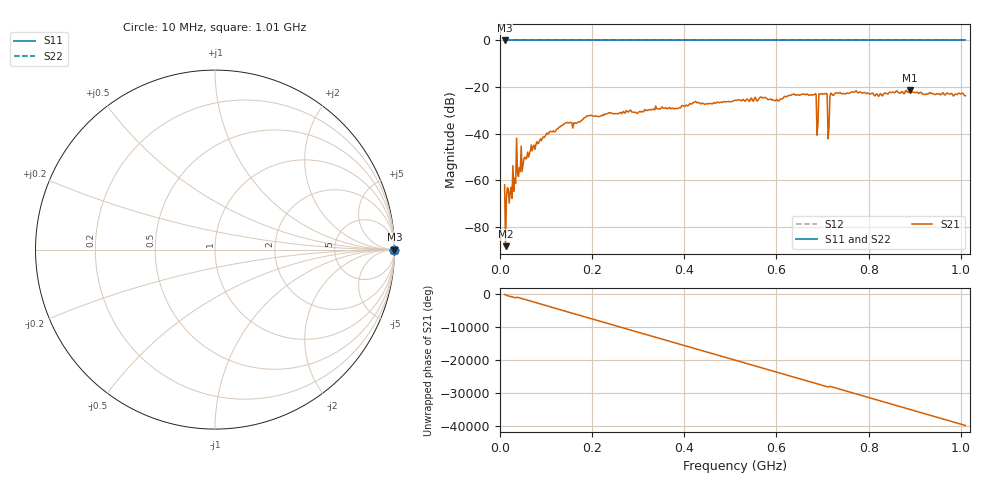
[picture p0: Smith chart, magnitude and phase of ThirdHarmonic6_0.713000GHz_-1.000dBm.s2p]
! 8/15/2025 11:50:37 PM
! C:\ANRITSUVNA\TEMP\TEMP.S2P
! CHANNEL.1
! TR.MEASUREMENT
! RAW.DATA
! RF.CORRECTION.OFF
! AVERAGING.OFF
! IF.BANDWIDTH: 5KHZ
! SWEEPTYPE:  FREQ.SWEEP(Linear)
! Reference Plane Port Info
! PORT:  PORT1  PORT2
! DISTANCE:  0  m  0  m
! TIME:  0  s  0  s
! PHASE.OFFSET:  0  deg.  0  deg.
! LOSS:  0  dB  0  dB
! REF.LOSS:  0  dB  0  dB
! REF.FREQ:  0  Hz  0  Hz
! Power Info
! POWER:  -20  dBm  -20  dBm
! EFF.POWER:  -20  dBm  -20  dBm
! SOURCE.ATTEN:  0  dB  0  dB
! TEST.ATTEN:  0  dB  0  dB
# GHZ S RI R 50.0
! FREQ.GHZ  S11RE  S11IM  S21RE  S21IM  S12RE  S12IM  S22RE  S22IM
!; PortSelection: Port_12
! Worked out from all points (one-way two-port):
!   501 points, 10 MHz to 1.01 GHz, reference 50 ohm
!   highest |S21| = -21.46 dB at 890 MHz (marker M1); lowest = -88.3 dB at 12 MHz (marker M2)
!   lowest |S11| = 0.0 dB at 10 MHz (marker M3)
!   |S11| at or under -10 dB: nowhere
!   |S22| runs from 0.0 to 0.0 dB; largest |S21 - S12| = 1.1
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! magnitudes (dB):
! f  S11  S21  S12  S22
! 10 MHz  0.0  -61.9  0.0  0.0
! 12 MHz  0.0  -88.3  0.0  0.0
! 16 MHz  0.0  -63.2  0.0  0.0
! 22 MHz  0.0  -65.1  0.0  0.0
! 30 MHz  0.0  -64.7  0.0  0.0
! 32 MHz  0.0  -59.0  0.0  0.0
! 70 MHz  0.0  -47.4  0.0  0.0
! 142 MHz  0.0  -35.4  0.0  0.0
! 178 MHz  0.0  -34.2  0.0  0.0
! 344 MHz  0.0  -29.4  0.0  0.0
! 510 MHz  0.0  -25.6  0.0  0.0
! 678 MHz  0.0  -23.5  0.0  0.0
! 690 MHz  0.0  -36.1  0.0  0.0
! 696 MHz  0.0  -22.9  0.0  0.0
! 706 MHz  0.0  -22.9  0.0  0.0
! 712 MHz  0.0  -42.2  0.0  0.0
! 716 MHz  0.0  -24.1  0.0  0.0
! 720 MHz  0.0  -22.9  0.0  0.0
! 730 MHz  0.0  -22.4  0.0  0.0
! 844 MHz  0.0  -22.5  0.0  0.0
! 890 MHz  0.0  -21.5  0.0  0.0
! 1.01 GHz  0.0  -23.7  0.0  0.0
